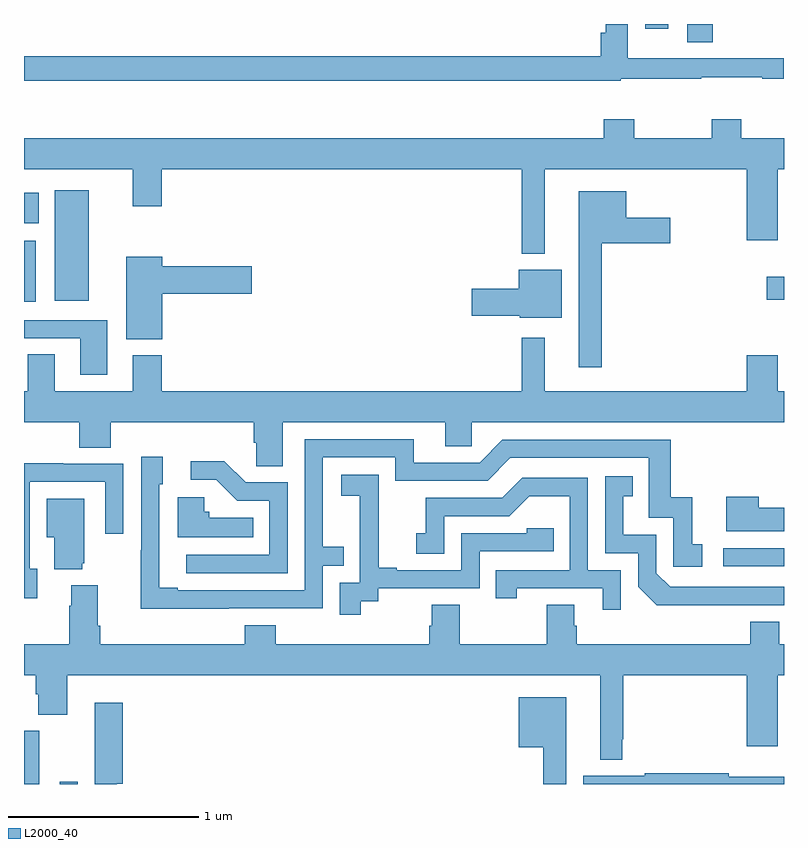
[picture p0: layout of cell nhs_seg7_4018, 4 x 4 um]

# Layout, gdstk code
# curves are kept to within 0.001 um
import gdstk
lib = gdstk.Library(unit=1e-6, precision=1e-09)
def R(c, l, rs):  # rectangles x0, y0, x1, y1
    for r in rs: c.add(gdstk.rectangle(r[:2], r[2:], *l))
def P(c, l, *ps):  # polygons
    for p in ps: c.add(gdstk.Polygon(p, *l))
L2000_40 = (2000, 40)

nhs_seg7_4018 = lib.new_cell('nhs_seg7_4018')
R(nhs_seg7_4018, L2000_40, [(365,1044,365.08,1044.279), (365.187,1044,365.283,1044.013), (368.679,1045.146,369,1045.242), (365,1046.537,365.062,1046.86), (365.162,1046.543,365.341,1047.124), (368.91,1046.549,369,1046.671), (365,1046.952,365.077,1047.112), (368.492,1047.904,368.626,1048), (368.27,1047.975,368.392,1048)])
P(nhs_seg7_4018, L2000_40, [(368.142,1047.711),(368.564,1047.711),(368.564,1047.721),(368.885,1047.721),(368.885,1047.711),(368.998,1047.711),(368.998,1047.821),(368.722,1047.821),(368.722,1047.819),(368.388,1047.819),(368.388,1047.82),(368.178,1047.82),(368.178,1048),(368.062,1048),(368.062,1047.955),(368.036,1047.955),(368.036,1047.83),(365,1047.83),(365,1047.702),(368.142,1047.702)],
  [(367.741,1047.236),(368.804,1047.236),(368.804,1046.862),(368.968,1046.862),(368.968,1047.236),(369,1047.236),(369,1047.4),(368.775,1047.4),(368.775,1047.499),(368.62,1047.499),(368.62,1047.4),(368.211,1047.4),(368.211,1047.499),(368.051,1047.499),(368.051,1047.4),(365,1047.4),(365,1047.236),(365.573,1047.236),(365.573,1047.042),(365.726,1047.042),(365.726,1047.236),(367.62,1047.236),(367.62,1046.792),(367.741,1046.792)],
  [(368.041,1046.846),(368.401,1046.846),(368.401,1046.98),(368.17,1046.98),(368.17,1047.121),(367.919,1047.121),(367.919,1046.193),(368.041,1046.193)],
  [(365.728,1046.579),(366.199,1046.579),(366.199,1046.726),(365.728,1046.726),(365.728,1046.776),(365.537,1046.776),(365.537,1046.342),(365.728,1046.342)],
  [(367.831,1046.707),(367.604,1046.707),(367.604,1046.606),(367.356,1046.606),(367.356,1046.464),(367.608,1046.464),(367.608,1046.453),(367.831,1046.453)],
  [(365.437,1046.442),(365,1046.442),(365,1046.346),(365.297,1046.346),(365.297,1046.154),(365.437,1046.154)],
  [(366.361,1045.904),(367.217,1045.904),(367.217,1045.777),(367.356,1045.777),(367.356,1045.904),(369,1045.904),(369,1046.068),(368.968,1046.068),(368.968,1046.257),(368.804,1046.257),(368.804,1046.068),(367.741,1046.068),(367.741,1046.35),(367.62,1046.35),(367.62,1046.068),(365.726,1046.068),(365.726,1046.257),(365.573,1046.257),(365.573,1046.068),(365.161,1046.068),(365.161,1046.261),(365.021,1046.261),(365.021,1046.068),(365,1046.068),(365,1045.904),(365.291,1045.904),(365.291,1045.771),(365.456,1045.771),(365.456,1045.904),(366.209,1045.904),(366.209,1045.795),(366.222,1045.795),(366.222,1045.672),(366.361,1045.672)],
  [(366.077,1044.924),(366.573,1044.924),(366.573,1045.149),(366.683,1045.149),(366.683,1045.25),(366.573,1045.25),(366.573,1045.719),(366.954,1045.719),(366.954,1045.596),(367.44,1045.596),(367.56,1045.716),(368.289,1045.716),(368.289,1045.401),(368.418,1045.401),(368.418,1045.143),(368.569,1045.143),(368.569,1045.263),(368.516,1045.263),(368.516,1045.51),(368.405,1045.51),(368.405,1045.812),(367.518,1045.812),(367.398,1045.692),(367.051,1045.692),(367.051,1045.815),(366.477,1045.815),(366.477,1045.02),(365.809,1045.02),(365.809,1045.033),(365.712,1045.033),(365.712,1045.578),(365.731,1045.578),(365.731,1045.723),(365.616,1045.723),(365.616,1045.229),(365.614,1045.229),(365.614,1044.923)],
  [(366.387,1045.587),(366.168,1045.587),(366.055,1045.7),(365.877,1045.7),(365.877,1045.602),(366.011,1045.602),(366.122,1045.491),(366.291,1045.491),(366.291,1045.206),(365.853,1045.206),(365.853,1045.11),(366.387,1045.11)],
  [(365.071,1045.134),(365.031,1045.134),(365.031,1045.59),(365.427,1045.59),(365.427,1045.317),(365.523,1045.317),(365.523,1045.686),(365.207,1045.686),(365.207,1045.688),(365,1045.688),(365,1044.978),(365.071,1044.978)],
  [(366.772,1044.961),(366.864,1044.961),(366.864,1045.029),(367.398,1045.029),(367.398,1045.224),(367.787,1045.224),(367.787,1045.347),(367.647,1045.347),(367.647,1045.32),(367.302,1045.32),(367.302,1045.125),(366.961,1045.125),(366.961,1045.138),(366.866,1045.138),(366.866,1045.421),(366.867,1045.421),(366.867,1045.627),(366.669,1045.627),(366.669,1045.517),(366.767,1045.517),(366.767,1045.289),(366.768,1045.289),(366.768,1045.059),(366.663,1045.059),(366.663,1044.891),(366.772,1044.891)],
  [(368.738,1044.942),(369,1044.942),(369,1045.038),(368.4,1045.038),(368.328,1045.11),(368.328,1045.311),(368.155,1045.311),(368.155,1045.515),(368.204,1045.515),(368.204,1045.621),(368.058,1045.621),(368.058,1045.215),(368.232,1045.215),(368.232,1045.038),(368.33,1044.941)],
  [(368.142,1045.125),(367.968,1045.125),(367.968,1045.611),(367.622,1045.611),(367.517,1045.506),(367.114,1045.506),(367.114,1045.321),(367.065,1045.321),(367.065,1045.212),(367.212,1045.212),(367.212,1045.41),(367.554,1045.41),(367.658,1045.514),(367.872,1045.514),(367.872,1045.125),(367.483,1045.125),(367.483,1044.978),(367.594,1044.978),(367.594,1045.029),(368.045,1045.029),(368.045,1044.918),(368.142,1044.918)],
  [(369,1045.453),(368.867,1045.453),(368.867,1045.513),(368.696,1045.513),(368.696,1045.331),(369,1045.331)],
  [(366.206,1045.402),(365.976,1045.402),(365.976,1045.434),(365.949,1045.434),(365.949,1045.51),(365.81,1045.51),(365.81,1045.298),(366.206,1045.298)],
  [(365.306,1045.161),(365.317,1045.161),(365.317,1045.501),(365.12,1045.501),(365.12,1045.298),(365.159,1045.298),(365.159,1045.13),(365.306,1045.13)],
  [(368.148,1044.235),(368.155,1044.235),(368.155,1044.572),(368.804,1044.572),(368.804,1044.198),(368.968,1044.198),(368.968,1044.572),(369,1044.572),(369,1044.736),(368.974,1044.736),(368.974,1044.853),(368.822,1044.853),(368.822,1044.736),(367.91,1044.736),(367.91,1044.834),(367.897,1044.834),(367.897,1044.944),(367.75,1044.944),(367.75,1044.736),(367.293,1044.736),(367.293,1044.944),(367.145,1044.944),(367.145,1044.834),(367.133,1044.834),(367.133,1044.736),(366.326,1044.736),(366.326,1044.835),(366.161,1044.835),(366.161,1044.736),(365.402,1044.736),(365.402,1044.832),(365.389,1044.832),(365.389,1045.045),(365.249,1045.045),(365.249,1044.938),(365.237,1044.938),(365.237,1044.736),(365,1044.736),(365,1044.572),(365.063,1044.572),(365.063,1044.473),(365.075,1044.473),(365.075,1044.364),(365.228,1044.364),(365.228,1044.572),(368.033,1044.572),(368.033,1044.128),(368.148,1044.128)],
  [(367.855,1044.457),(367.604,1044.457),(367.604,1044.194),(367.734,1044.194),(367.734,1044),(367.855,1044)],
  [(365.489,1044.002),(365.519,1044.002),(365.519,1044.427),(365.372,1044.427),(365.372,1044.106),(365.373,1044.106),(365.373,1044),(365.489,1044)],
  [(369,1044.037),(368.708,1044.037),(368.708,1044.056),(368.266,1044.056),(368.266,1044.043),(367.943,1044.043),(367.943,1044),(369,1044)])

lib.write_gds('nhs_seg7_4018.gds')
